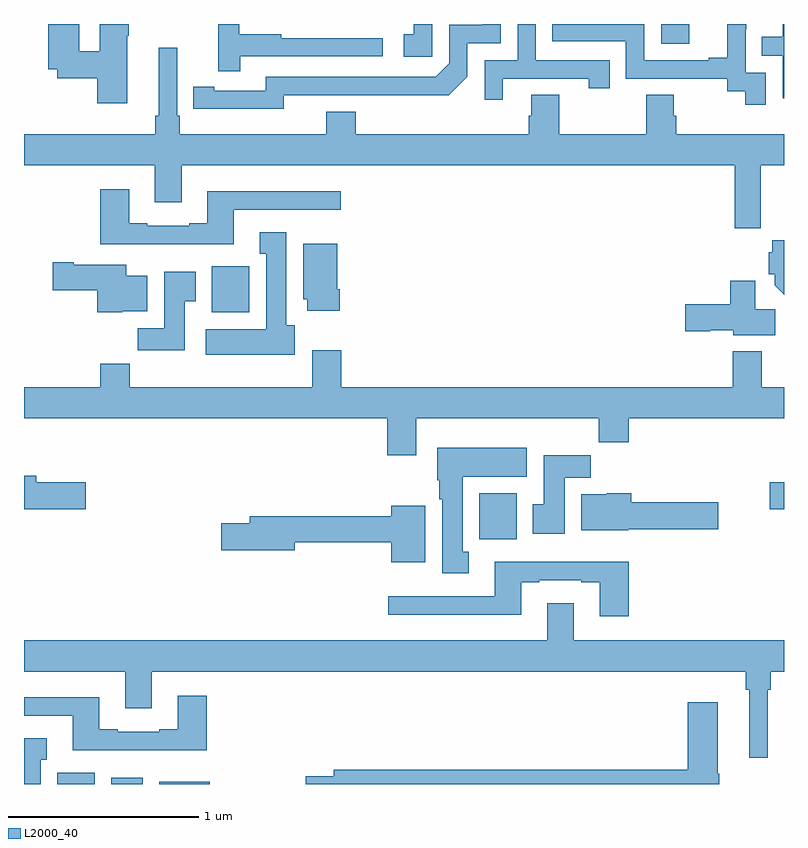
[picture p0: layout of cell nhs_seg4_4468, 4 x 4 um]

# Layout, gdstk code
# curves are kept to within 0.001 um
import gdstk
lib = gdstk.Library(unit=1e-6, precision=1e-09)
def R(c, l, rs):  # rectangles x0, y0, x1, y1
    for r in rs: c.add(gdstk.rectangle(r[:2], r[2:], *l))
def P(c, l, *ps):  # polygons
    for p in ps: c.add(gdstk.Polygon(p, *l))
L2000_40 = (2000, 40)

nhs_seg4_4468 = lib.new_cell('nhs_seg4_4468')
R(nhs_seg4_4468, L2000_40, [(351.176,790.9,351.373,790.96), (351.458,790.9,351.625,790.933), (351.713,790.9,351.977,790.912), (353.396,792.188,353.593,792.43), (354.924,792.347,355,792.489), (351.989,793.382,352.186,793.624), (354.354,794.796,354.502,794.9)])
P(nhs_seg4_4468, L2000_40, [(354.903,794.643),(354.798,794.643),(354.798,794.873),(354.8,794.873),(354.8,794.9),(354.701,794.9),(354.701,794.722),(354.605,794.722),(354.605,794.709),(354.264,794.709),(354.264,794.9),(353.779,794.9),(353.779,794.808),(354.168,794.808),(354.168,794.613),(354.702,794.613),(354.702,794.545),(354.795,794.545),(354.795,794.475),(354.903,794.475)],
  [(351.544,794.839),(351.552,794.839),(351.552,794.9),(351.398,794.9),(351.398,794.756),(351.292,794.756),(351.292,794.9),(351.127,794.9),(351.127,794.663),(351.176,794.663),(351.176,794.614),(351.386,794.614),(351.386,794.484),(351.544,794.484)],
  [(352.368,794.526),(353.236,794.525),(353.334,794.622),(353.334,794.799),(353.508,794.799),(353.508,794.9),(353.411,794.9),(353.411,794.895),(353.238,794.895),(353.238,794.694),(353.166,794.622),(352.272,794.622),(352.272,794.55),(352,794.55),(352,794.57),(351.892,794.57),(351.892,794.454),(352.368,794.453)],
  [(353.521,794.613),(353.972,794.613),(353.972,794.562),(354.083,794.562),(354.083,794.709),(353.694,794.709),(353.694,794.9),(353.598,794.9),(353.598,794.709),(353.424,794.709),(353.424,794.502),(353.521,794.502)],
  [(352.139,794.73),(352.888,794.73),(352.888,794.826),(352.355,794.826),(352.355,794.846),(352.132,794.846),(352.132,794.9),(352.022,794.9),(352.022,794.652),(352.139,794.652)],
  [(355,794.9),(354.993,794.9),(354.993,794.834),(354.883,794.834),(354.883,794.733),(354.993,794.733),(354.993,794.508),(355,794.508)],
  [(353.148,794.9),(353.051,794.9),(353.051,794.847),(352.998,794.847),(352.998,794.727),(353.148,794.727)],
  [(354.878,794.156),(355,794.156),(355,794.32),(354.434,794.32),(354.434,794.418),(354.421,794.418),(354.421,794.528),(354.274,794.528),(354.274,794.32),(353.817,794.32),(353.817,794.528),(353.669,794.528),(353.669,794.418),(353.657,794.418),(353.657,794.32),(352.745,794.32),(352.745,794.437),(352.592,794.437),(352.592,794.32),(351.821,794.32),(351.821,794.416),(351.807,794.416),(351.807,794.776),(351.71,794.776),(351.71,794.416),(351.691,794.416),(351.691,794.32),(351,794.32),(351,794.156),(351.689,794.156),(351.689,793.962),(351.829,793.962),(351.829,794.156),(354.742,794.156),(354.742,793.824),(354.878,793.824)],
  [(352.105,793.923),(352.666,793.923),(352.666,794.02),(351.965,794.02),(351.965,793.852),(351.869,793.852),(351.869,793.839),(351.649,793.839),(351.649,793.852),(351.553,793.852),(351.553,794.029),(351.401,794.029),(351.401,793.742),(352.105,793.742)],
  [(352.426,793.314),(352.381,793.314),(352.381,793.804),(352.241,793.804),(352.241,793.691),(352.274,793.691),(352.274,793.294),(351.957,793.294),(351.957,793.16),(352.426,793.16)],
  [(355,793.762),(354.938,793.762),(354.938,793.698),(354.921,793.698),(354.921,793.584),(354.95,793.584),(354.95,793.526),(355,793.476)],
  [(352.661,793.504),(352.648,793.504),(352.648,793.744),(352.469,793.744),(352.469,793.452),(352.49,793.452),(352.49,793.392),(352.661,793.392)],
  [(351.516,793.388),(351.649,793.388),(351.649,793.576),(351.538,793.576),(351.538,793.633),(351.262,793.633),(351.262,793.646),(351.15,793.646),(351.15,793.499),(351.386,793.499),(351.386,793.382),(351.516,793.382)],
  [(351.847,793.441),(351.904,793.441),(351.904,793.597),(351.737,793.597),(351.737,793.3),(351.598,793.3),(351.598,793.182),(351.847,793.182)],
  [(354.955,793.4),(354.848,793.4),(354.848,793.549),(354.716,793.549),(354.716,793.424),(354.48,793.424),(354.48,793.282),(354.612,793.282),(354.612,793.289),(354.732,793.289),(354.732,793.262),(354.955,793.262)],
  [(353.065,792.824),(354.025,792.824),(354.025,792.7),(354.182,792.7),(354.182,792.824),(355,792.824),(355,792.988),(354.883,792.988),(354.883,793.177),(354.731,793.177),(354.731,792.988),(352.67,792.988),(352.67,793.183),(352.517,793.183),(352.517,792.988),(351.557,792.988),(351.557,793.112),(351.401,793.112),(351.401,792.988),(351,792.988),(351,792.824),(352.913,792.824),(352.913,792.63),(353.065,792.63)],
  [(353.341,792.122),(353.308,792.122),(353.308,792.518),(353.647,792.518),(353.647,792.67),(353.174,792.67),(353.174,792.498),(353.186,792.498),(353.186,792.398),(353.201,792.398),(353.201,792.009),(353.341,792.009)],
  [(353.845,792.512),(353.984,792.512),(353.984,792.631),(353.735,792.631),(353.735,792.372),(353.678,792.372),(353.678,792.216),(353.845,792.216)],
  [(351.325,792.489),(351.064,792.489),(351.064,792.523),(351,792.523),(351,792.347),(351.325,792.347)],
  [(354.18,792.242),(354.655,792.242),(354.655,792.384),(354.197,792.384),(354.197,792.43),(354.066,792.43),(354.066,792.424),(353.933,792.424),(353.933,792.236),(354.18,792.236)],
  [(353.113,792.364),(352.934,792.364),(352.934,792.308),(352.187,792.308),(352.187,792.272),(352.038,792.272),(352.038,792.13),(352.426,792.13),(352.426,792.172),(352.934,792.172),(352.934,792.068),(353.113,792.068)],
  [(354.182,792.07),(353.477,792.07),(353.477,791.889),(352.917,791.889),(352.917,791.792),(353.617,791.792),(353.617,791.961),(353.713,791.961),(353.713,791.973),(353.933,791.973),(353.933,791.961),(354.029,791.961),(354.029,791.784),(354.182,791.784)],
  [(354.915,791.396),(354.929,791.396),(354.929,791.492),(355,791.492),(355,791.656),(353.893,791.656),(353.893,791.851),(353.753,791.851),(353.753,791.656),(351,791.656),(351,791.492),(351.533,791.492),(351.533,791.298),(351.673,791.298),(351.673,791.492),(354.799,791.492),(354.799,791.396),(354.818,791.396),(354.818,791.037),(354.915,791.037)],
  [(351.962,791.365),(351.809,791.365),(351.809,791.188),(351.713,791.188),(351.713,791.175),(351.493,791.175),(351.493,791.188),(351.397,791.188),(351.397,791.356),(351,791.356),(351,791.259),(351.257,791.259),(351.257,791.078),(351.962,791.078)],
  [(354.66,790.953),(354.652,790.953),(354.652,791.329),(354.494,791.329),(354.494,790.976),(352.631,790.976),(352.631,790.94),(352.482,790.94),(352.482,790.9),(354.66,790.9)],
  [(351.088,791.027),(351.121,791.027),(351.121,791.14),(351,791.14),(351,790.9),(351.088,790.9)])

lib.write_gds('nhs_seg4_4468.gds')
